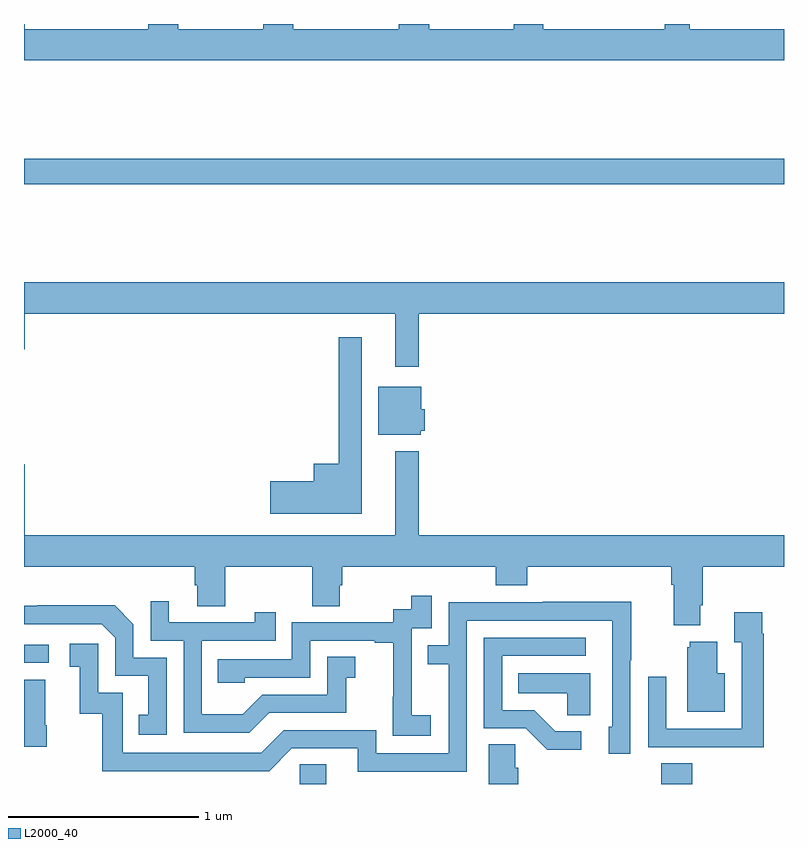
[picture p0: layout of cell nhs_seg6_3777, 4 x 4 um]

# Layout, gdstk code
import gdstk
lib = gdstk.Library(unit=1e-6, precision=1e-09)
def R(c, l, rs):  # rectangles x0, y0, x1, y1
    for r in rs: c.add(gdstk.rectangle(r[:2], r[2:], *l))
def P(c, l, *ps):  # polygons
    for p in ps: c.add(gdstk.Polygon(p, *l))
L2000_40 = (2000, 40)

nhs_seg6_3777 = lib.new_cell('nhs_seg6_3777')
R(nhs_seg6_3777, L2000_40, [(334.452,971.5,334.591,971.603), (336.353,971.5,336.518,971.609), (333,972.138,333.13,972.234), (333,974.656,337,974.792)])
P(nhs_seg6_3777, L2000_40, [(337,975.472),(336.503,975.472),(336.503,975.5),(336.373,975.5),(336.373,975.472),(335.733,975.472),(335.733,975.5),(335.578,975.5),(335.578,975.472),(335.133,975.472),(335.133,975.5),(334.973,975.5),(334.973,975.472),(334.418,975.472),(334.418,975.5),(334.258,975.5),(334.258,975.472),(333.813,975.472),(333.813,975.5),(333.653,975.5),(333.653,975.472),(333.004,975.472),(333.004,975.5),(333,975.5),(333,975.308),(337,975.308)],
  [(335.077,973.976),(337,973.976),(337,974.14),(333,974.14),(333,973.788),(333.004,973.788),(333.004,973.976),(334.955,973.976),(334.955,973.695),(335.077,973.695)],
  [(334.777,973.852),(334.656,973.852),(334.656,973.186),(334.526,973.186),(334.526,973.094),(334.296,973.094),(334.296,972.923),(334.777,972.923)],
  [(335.088,973.359),(335.11,973.359),(335.11,973.473),(335.092,973.473),(335.092,973.591),(334.865,973.591),(334.865,973.337),(335.088,973.337)],
  [(335.077,973.252),(334.955,973.252),(334.955,972.808),(333.004,972.808),(333.004,973.183),(333,973.183),(333,972.644),(333.899,972.644),(333.899,972.546),(333.911,972.546),(333.911,972.436),(334.059,972.436),(334.059,972.644),(334.516,972.644),(334.516,972.436),(334.663,972.436),(334.663,972.546),(334.676,972.546),(334.676,972.644),(335.483,972.644),(335.483,972.545),(335.648,972.545),(335.648,972.644),(336.407,972.644),(336.407,972.548),(336.419,972.548),(336.419,972.335),(336.559,972.335),(336.559,972.442),(336.572,972.442),(336.572,972.644),(337,972.644),(337,972.808),(335.077,972.808)],
  [(335.14,971.863),(335.042,971.863),(335.042,972.092),(335.04,972.092),(335.04,972.321),(335.145,972.321),(335.145,972.49),(335.037,972.49),(335.037,972.42),(334.944,972.42),(334.944,972.351),(334.41,972.351),(334.41,972.156),(334.021,972.156),(334.021,972.033),(334.161,972.033),(334.161,972.06),(334.506,972.06),(334.506,972.255),(334.847,972.255),(334.847,972.243),(334.943,972.243),(334.943,971.959),(334.942,971.959),(334.942,971.753),(335.14,971.753)],
  [(334.291,971.874),(334.695,971.874),(334.695,972.059),(334.744,972.059),(334.744,972.169),(334.596,972.169),(334.596,971.97),(334.254,971.97),(334.15,971.866),(333.936,971.866),(333.936,972.255),(334.325,972.255),(334.325,972.403),(334.214,972.403),(334.214,972.351),(333.763,972.351),(333.763,972.463),(333.666,972.463),(333.666,972.255),(333.84,972.255),(333.84,971.769),(334.186,971.769)],
  [(335.331,972.36),(336.096,972.36),(336.096,971.802),(336.077,971.802),(336.077,971.658),(336.192,971.658),(336.192,972.151),(336.195,972.151),(336.195,972.458),(335.731,972.458),(335.731,972.456),(335.235,972.456),(335.235,972.231),(335.125,972.231),(335.125,972.13),(335.235,972.13),(335.235,971.661),(334.854,971.661),(334.854,971.784),(334.368,971.784),(334.248,971.664),(333.519,971.664),(333.519,971.979),(333.39,971.979),(333.39,972.238),(333.24,972.238),(333.24,972.117),(333.293,972.117),(333.293,971.871),(333.411,971.871),(333.411,971.568),(334.29,971.568),(334.41,971.688),(334.757,971.688),(334.757,971.565),(335.331,971.565)],
  [(333.75,972.165),(333.576,972.165),(333.576,972.342),(333.478,972.44),(333.07,972.44),(333.07,972.438),(333,972.438),(333,972.342),(333.408,972.342),(333.48,972.27),(333.48,972.069),(333.653,972.069),(333.653,971.865),(333.604,971.865),(333.604,971.76),(333.75,971.76)],
  [(336.893,972.29),(336.886,972.29),(336.886,972.403),(336.737,972.403),(336.737,972.247),(336.777,972.247),(336.777,971.79),(336.381,971.79),(336.381,972.064),(336.285,972.064),(336.285,971.694),(336.601,971.694),(336.601,971.693),(336.893,971.693)],
  [(335.932,971.778),(335.797,971.778),(335.686,971.889),(335.517,971.889),(335.517,972.174),(335.956,972.174),(335.956,972.27),(335.421,972.27),(335.421,971.793),(335.64,971.793),(335.753,971.681),(335.932,971.681)],
  [(336.688,972.082),(336.649,972.082),(336.649,972.25),(336.503,972.25),(336.503,972.219),(336.491,972.219),(336.491,971.879),(336.688,971.879)],
  [(335.98,972.082),(335.602,972.082),(335.602,971.978),(335.859,971.978),(335.859,971.863),(335.98,971.863)],
  [(333.12,971.809),(333.112,971.809),(333.112,972.049),(333,972.049),(333,971.697),(333.12,971.697)],
  [(335.6,971.585),(335.586,971.585),(335.586,971.708),(335.447,971.708),(335.447,971.5),(335.6,971.5)])

lib.write_gds('nhs_seg6_3777.gds')
